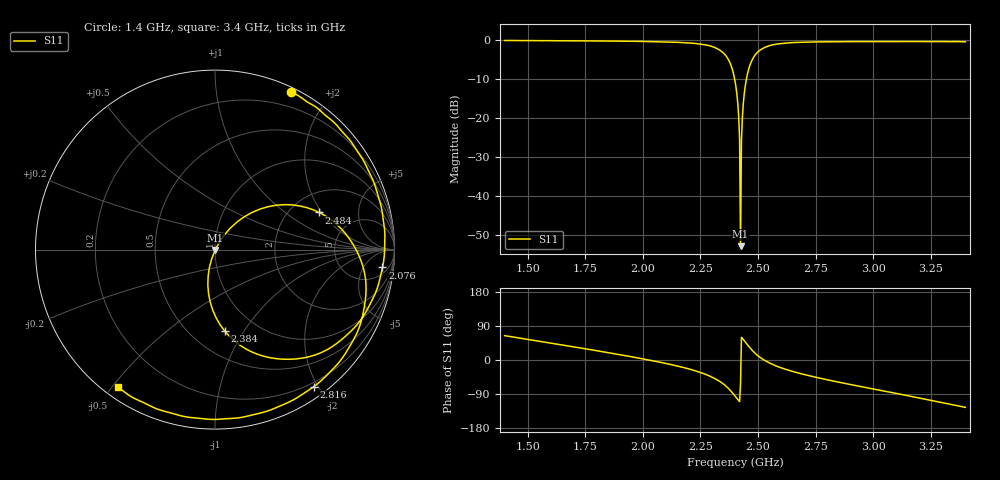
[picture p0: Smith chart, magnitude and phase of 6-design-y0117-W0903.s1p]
#  Hz  S  RI  R  50
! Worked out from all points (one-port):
!   501 points, 1.4 GHz to 3.4 GHz, reference 50 ohm
!   lowest |S11| = -52.9 dB at 2.424 GHz (marker M1), VSWR 1.00, Z = 50.1 - j0.201 ohm
!   |S11| at or under -10 dB: 2.398 GHz to 2.45 GHz (51.93 MHz wide, 2.14 % of centre)
!   S11 on the Smith chart (normalised r, x): 1.4 GHz: 0.05, +1.59; 2.076 GHz: 8, -14; 2.384 GHz: 0.72, -0.82; 2.484 GHz: 2.84, +1.89; 2.816 GHz: 0.15, -1.94; 3.4 GHz: 0.04, -0.52
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1.4e9  0.4227 0.8769
1.652e9  0.748 0.6141
1.9e9  0.9277 0.2316
2.076e9  0.9331 -0.0996
2.152e9  0.8862 -0.2587
2.22e9  0.7985 -0.41
2.284e9  0.6381 -0.5497
2.344e9  0.3411 -0.6076
2.384e9  0.0531 -0.4526
2.4e9  -0.0265 -0.2938
2.408e9  -0.0399 -0.1981
2.412e9  -0.0383 -0.1484
2.416e9  -0.031 -0.0986
2.42e9  -0.0178 -0.0495
2.424e9  0.00103 -0.00201
2.428e9  0.0253 0.043
2.432e9  0.0546 0.0849
2.436e9  0.0884 0.1228
2.444e9  0.1666 0.185
2.46e9  0.3439 0.2476
2.484e9  0.5806 0.2069
2.512e9  0.7412 0.0707
2.548e9  0.8271 -0.1053
2.652e9  0.7898 -0.4668
2.816e9  0.5504 -0.7636
2.9e9  0.4046 -0.8531
3.152e9  -0.0736 -0.9414
3.4e9  -0.5379 -0.7681
